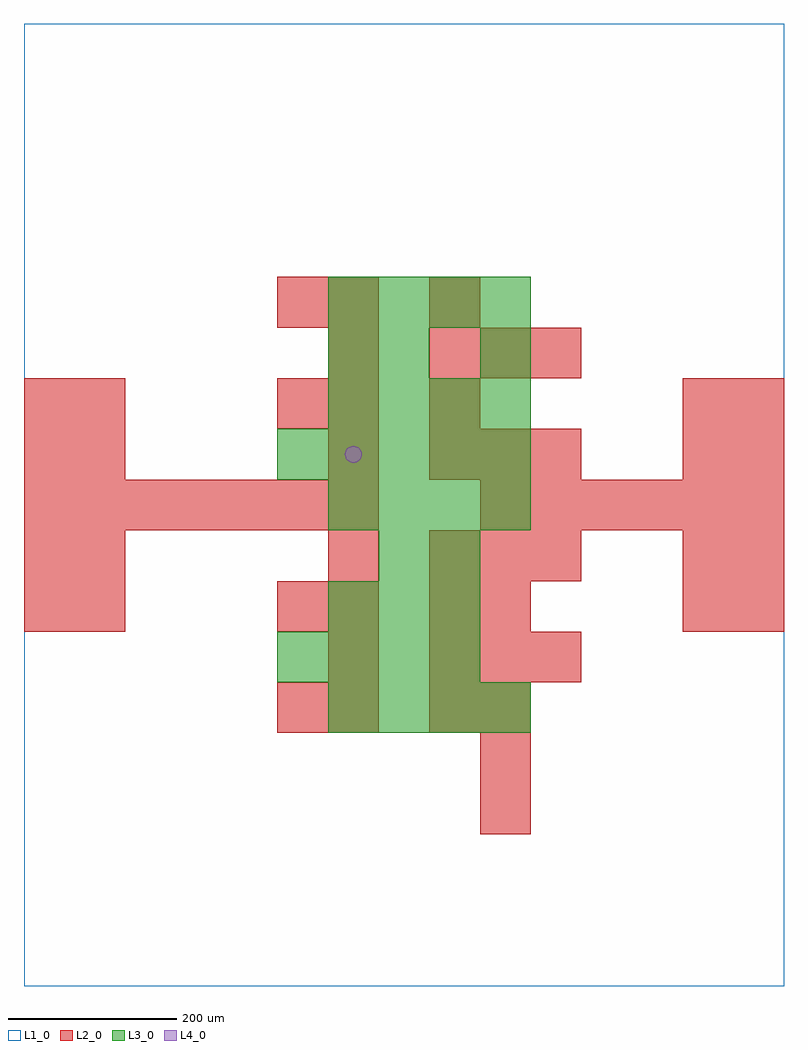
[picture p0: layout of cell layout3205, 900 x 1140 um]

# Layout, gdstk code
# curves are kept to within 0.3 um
import gdstk
lib = gdstk.Library(unit=1e-6, precision=1e-09)
def R(c, l, rs):  # rectangles x0, y0, x1, y1
    for r in rs: c.add(gdstk.rectangle(r[:2], r[2:], *l))
def A(c, l, x, y, w, h, nx, ny, dx, dy):  # array of equal rectangles
    R(c, l, [(x+i*dx, y+j*dy, x+i*dx+w, y+j*dy+h) for i in range(nx) for j in range(ny)])
def P(c, l, *ps):  # polygons
    for p in ps: c.add(gdstk.Polygon(p, *l))
L1_0 = (1, 0)
L2_0 = (2, 0)
L3_0 = (3, 0)
L4_0 = (4, 0)

layout3205 = lib.new_cell('layout3205')
R(layout3205, L1_0, [(0,0,900,1140)])
A(layout3205, L2_0, 540, 180, 60, 60, 1, 3, 0, 60)
A(layout3205, L2_0, 360, 300, 60, 60, 1, 4, 0, 60)
A(layout3205, L2_0, 480, 360, 60, 60, 3, 4, 60, 120)
A(layout3205, L2_0, 0, 540, 60, 60, 7, 1, 60, 0)
A(layout3205, L2_0, 540, 540, 60, 60, 6, 1, 60, 0)
A(layout3205, L2_0, 360, 600, 60, 60, 1, 4, 0, 60)
R(layout3205, L2_0, [(300,300,360,360), (480,300,540,360), (0,420,60,480), (60,420,120,480), (300,420,360,480), (480,420,540,480), (540,420,600,480), (780,420,840,480), (840,420,900,480), (0,480,60,540), (60,480,120,540), (780,480,840,540), (840,480,900,540), (0,600,60,660), (60,600,120,660), (780,600,840,660), (840,600,900,660), (0,660,60,720), (60,660,120,720), (300,660,360,720), (480,660,540,720), (780,660,840,720), (840,660,900,720), (300,780,360,840), (480,780,540,840)])
A(layout3205, L3_0, 360, 300, 60, 60, 4, 2, 60, 240)
A(layout3205, L3_0, 300, 360, 60, 60, 4, 1, 60, 0)
A(layout3205, L3_0, 360, 420, 60, 60, 3, 1, 60, 0)
A(layout3205, L3_0, 300, 600, 60, 60, 5, 1, 60, 0)
A(layout3205, L3_0, 360, 660, 60, 60, 4, 2, 60, 120)
R(layout3205, L3_0, [(420,480,480,540), (480,480,540,540), (360,720,420,780), (420,720,480,780), (540,720,600,780)])
P(layout3205, L4_0, [(400,630),(399.239,633.827),(397.071,637.071),(393.827,639.239),(390,640),(386.173,639.239),(382.929,637.071),(380.761,633.827),(380,630),(380.761,626.173),(382.929,622.929),(386.173,620.761),(390,620),(393.827,620.761),(397.071,622.929),(399.239,626.173)])

lib.write_gds('layout3205.gds')
